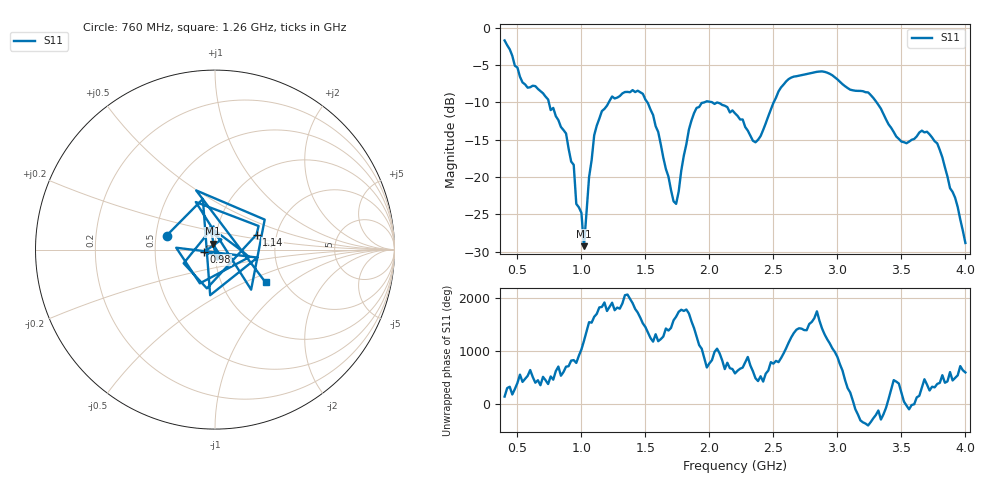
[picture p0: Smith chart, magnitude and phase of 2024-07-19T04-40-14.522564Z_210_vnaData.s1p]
!Created with skrf (http://scikit-rf.org).
# Hz S RI R 50.0
!freq ReS11 ImS11
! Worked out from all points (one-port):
!   181 points, 400 MHz to 4 GHz, reference 50 ohm
!   lowest |S11| = -29.3 dB at 1.02 GHz (marker M1), VSWR 1.07, Z = 48.7 + j3.13 ohm
!   |S11| at or under -10 dB: 745.4 MHz to 1.214 GHz (468.4 MHz wide, 47.8 % of centre); 2.022 GHz to 2.502 GHz (479.9 MHz wide, 21.2 % of centre); 3.306 GHz to end of sweep (the widest 3 of 4)
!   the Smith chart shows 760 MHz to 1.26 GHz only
!   S11 on the Smith chart (normalised r, x): 760 MHz: 0.57, +0.10; 980 MHz: 0.88, -0.02; 1.14 GHz: 1.57, +0.28; 1.26 GHz: 1.62, -0.67
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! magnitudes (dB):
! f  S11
! 400 MHz  -1.7
! 540 MHz  -7.3
! 760 MHz  -11.0
! 860 MHz  -13.7
! 940 MHz  -18.4
! 960 MHz  -23.6
! 980 MHz  -24.1
! 1 GHz  -24.8
! 1.02 GHz  -29.3
! 1.06 GHz  -20.0
! 1.1 GHz  -14.4
! 1.14 GHz  -12.2
! 1.26 GHz  -9.5
! 1.3 GHz  -9.2
! 1.48 GHz  -8.9
! 1.6 GHz  -14.0
! 1.72 GHz  -23.3
! 1.76 GHz  -22.0
! 1.84 GHz  -13.6
! 1.9 GHz  -10.7
! 2.2 GHz  -11.5
! 2.36 GHz  -15.4
! 2.66 GHz  -6.5
! 3.1 GHz  -8.3
! 3.24 GHz  -8.7
! 3.56 GHz  -15.3
! 3.78 GHz  -15.5
! 4 GHz  -28.9
